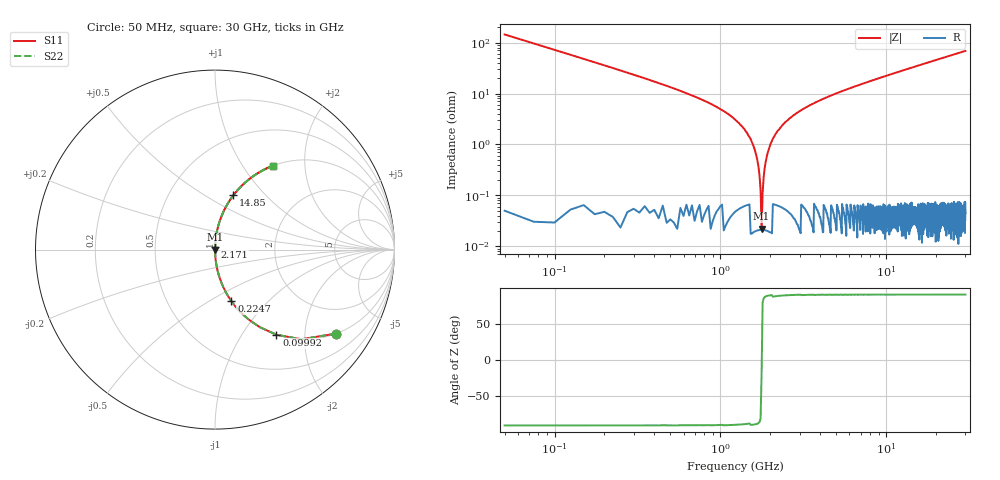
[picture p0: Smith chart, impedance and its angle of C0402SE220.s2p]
!	AVX Thin Film Operation 	Date: April 2014
!	Description: Accu-P® Series, Thin Film  SMD RF Capacitor
!	Part Number: 04023K220FBSTR
# MHZ S MA R 50
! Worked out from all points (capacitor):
!   1201 points, 50 MHz to 30 GHz, reference 50 ohm
!   read as one part in series: C = 22 pF near 199.8 MHz
!   lowest |Z| = 22.1 mohm at 1.772 GHz (marker M1)
!   series resonance near 1.774 GHz, so ESL is about 370 pH
!   S11 on the Smith chart (normalised r, x): 50 MHz: 1.00, -2.89; 99.92 MHz: 1.00, -1.44; 224.7 MHz: 1.00, -0.63; 2.171 GHz: 1.00, +0.03; 14.85 GHz: 1.00, +0.67; 30 GHz: 1.00, +1.37
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50  0.822 -34.7  0.569 55.3  0.569 55.3  0.822 -34.7
99.917  0.585 -54.2  0.811 35.8  0.811 35.8  0.585 -54.2
224.708  0.302 -72.4  0.953 17.6  0.953 17.6  0.302 -72.4
349.5  0.195 -78.6  0.98 11.2  0.98 11.2  0.195 -78.6
574.125  0.112 -83.4  0.993 6.4  0.993 6.4  0.112 -83.4
1372.792  0.021 -87.7  0.999 1.2  0.999 1.2  0.021 -87.7
1547.5  0.011 -87.2  1 0.6  1 0.6  0.011 -87.2
1672.292  0.004819 -84.7  1 0.3  1 0.3  0.004819 -84.7
1772.125  0.0004257 -9.5  1 0.0  1 0.0  0.0004257 -9.5
1871.958  0.004421 84.3  1 -0.3  1 -0.3  0.004421 84.3
1996.75  0.009692 87.0  1 -0.6  1 -0.6  0.009692 87.0
2171.458  0.017 87.6  0.999 -1.0  0.999 -1.0  0.017 87.6
2520.875  0.029 87.5  0.999 -1.7  0.999 -1.7  0.029 87.5
3045  0.046 86.8  0.999 -2.6  0.999 -2.6  0.046 86.8
3893.583  0.071 85.6  0.997 -4.1  0.997 -4.1  0.071 85.6
5041.667  0.101 84.0  0.994 -5.8  0.994 -5.8  0.101 84.0
10058.29  0.219 77.3  0.975 -12.6  0.975 -12.6  0.219 77.3
14850.29  0.319 71.3  0.947 -18.6  0.947 -18.6  0.319 71.3
15025  0.322 71.1  0.946 -18.8  0.946 -18.8  0.322 71.1
20016.67  0.415 65.4  0.909 -24.5  0.909 -24.5  0.415 65.4
25033.29  0.497 60.2  0.867 -29.8  0.867 -29.8  0.497 60.2
30000  0.566 55.5  0.824 -34.5  0.824 -34.5  0.566 55.5
